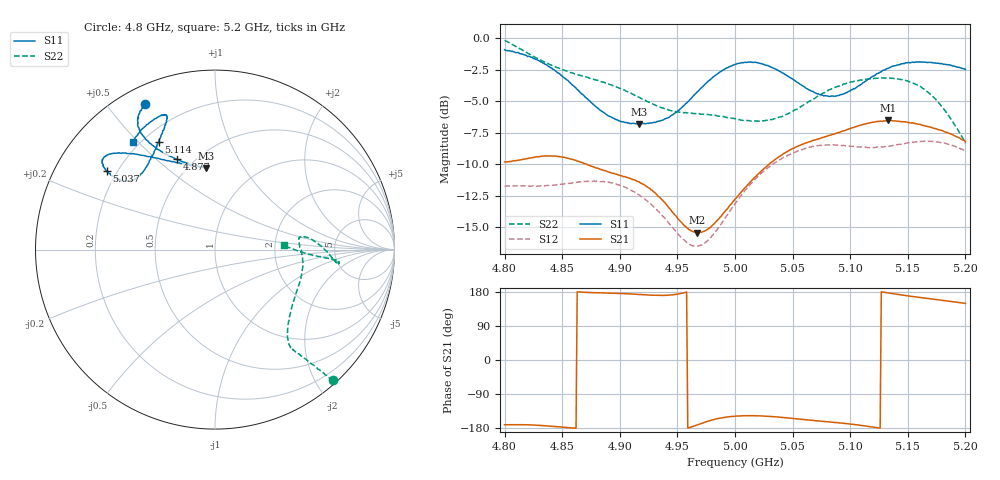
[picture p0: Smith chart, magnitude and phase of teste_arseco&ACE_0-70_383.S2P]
! Network Analyzer HP8722D
! Hewlett-Packard
! Data name: Linha & Wilkinson
! Saver's name: Rodrigo Anjos
! Comments: Teste da utilização de aquisição
! continua pelo VNA HP8722D
! Time and date: 8/5/2025 15:57
!  Frequency  S11  S21  S12  S22
# HZ  S  MA R 50
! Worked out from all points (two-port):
!   401 points, 4.8 GHz to 5.2 GHz, reference 50 ohm
!   highest |S21| = -6.52 dB at 5.133 GHz (marker M1); lowest = -15.4 dB at 4.967 GHz (marker M2)
!   |S21| within 3 dB of the highest: 4.821 GHz to 4.855 GHz (33.77 MHz wide, 0.698 % of centre); 5.036 GHz to end of sweep
!   lowest |S11| = -6.8 dB at 4.917 GHz (marker M3), VSWR 2.68, Z = 30.4 + j34.8 ohm
!   |S11| at or under -10 dB: nowhere
!   |S22| runs from -8.3 to -0.2 dB; largest |S21 - S12| = 0.83
!   S11 on the Smith chart (normalised r, x): 4.8 GHz: 0.07, +0.63; 4.877 GHz: 0.41, +0.58; 5.037 GHz: 0.16, +0.32; 5.114 GHz: 0.26, +0.58; 5.2 GHz: 0.17, +0.48
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4.8e9  0.8997 115.6  0.323 -170.9  0.2594 -86.3  0.9803 -48.0
4.833e9  0.7986 122.0  0.3403 -173.1  0.2592 -77.6  0.8116 -50.1
4.849e9  0.7132 121.7  0.3379 -176.9  0.2635 -72.4  0.7538 -51.0
4.867e9  0.6009 117.5  0.3215 178.9  0.2685 -68.0  0.7097 -52.0
4.877e9  0.5463 112.9  0.309 177.7  0.2711 -67.0  0.6882 -52.2
4.901e9  0.4668 100.3  0.285 175.4  0.2599 -67.7  0.6302 -50.1
4.917e9  0.4565 96.0  0.2686 173.0  0.2384 -69.6  0.5823 -45.6
4.934e9  0.4687 100.2  0.2349 170.4  0.2047 -70.1  0.5343 -36.9
4.956e9  0.5415 115.4  0.18 177.8  0.1578 -60.5  0.506 -22.3
4.967e9  0.6114 123.2  0.169 -171.6  0.1496 -48.5  0.5012 -15.7
4.979e9  0.6886 129.5  0.1781 -159.4  0.1617 -34.8  0.496 -9.5
5e9  0.7873 137.3  0.2292 -148.4  0.2204 -21.7  0.4793 -0.2
5.018e9  0.8022 141.6  0.2824 -147.2  0.2773 -19.1  0.4699 5.6
5.037e9  0.7474 144.0  0.3353 -150.4  0.3257 -19.3  0.483 8.6
5.067e9  0.617 141.9  0.3924 -159.1  0.372 -21.7  0.5703 3.6
5.088e9  0.59 132.7  0.4198 -165.0  0.3764 -24.8  0.6412 -2.9
5.114e9  0.6778 117.6  0.4579 -174.4  0.3687 -27.7  0.6874 -6.5
5.133e9  0.7602 110.9  0.472 176.9  0.3724 -29.7  0.6945 -5.8
5.134e9  0.7628 110.7  0.4697 176.5  0.3726 -29.9  0.6948 -5.8
5.162e9  0.8046 112.7  0.4522 164.4  0.3897 -36.7  0.6382 -4.5
5.179e9  0.7939 118.6  0.4316 157.6  0.385 -42.1  0.5392 -3.1
5.2e9  0.7526 127.5  0.3886 149.3  0.3568 -47.8  0.3835 3.7
